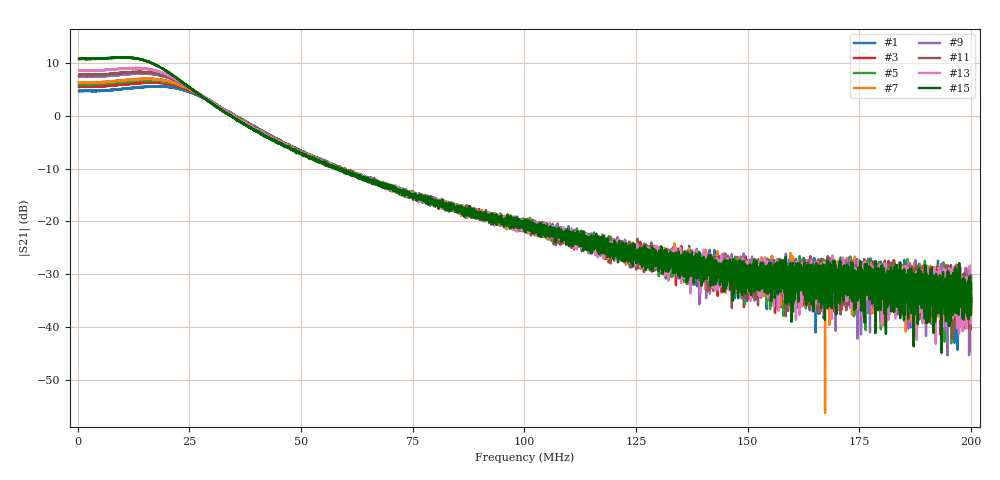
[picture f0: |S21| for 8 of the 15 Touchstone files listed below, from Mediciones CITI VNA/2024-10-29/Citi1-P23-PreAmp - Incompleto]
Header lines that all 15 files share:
# Hz S DB R 50
! CMT, M5065, 19127446, 24.2.4/2
! Data: Format (Calibration Info)
! Freq	S11:dB/Ang(F2)	S21:dB/Ang(F2)	S12:dB/Ang(F2)	S22:dB/Ang(F2)
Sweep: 300 kHz to 200 MHz
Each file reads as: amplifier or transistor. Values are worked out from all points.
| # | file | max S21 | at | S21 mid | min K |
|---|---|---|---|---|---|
| 1 | ganancia_0.s2p | 5.7 dB | 16.88 MHz | -20.2 dB at 100.2 MHz | -7863.01 |
| 2 | ganancia_4.s2p | 6.2 dB | 16.83 MHz | -20.6 dB at 100.2 MHz | -630.19 |
| 3 | ganancia_6.s2p | 6.4 dB | 17.39 MHz | -20.9 dB at 100.2 MHz | -286.75 |
| 4 | ganancia_8.s2p | 6.7 dB | 16.26 MHz | -20.5 dB at 100.2 MHz | -284.62 |
| 5 | ganancia_9.s2p | 6.9 dB | 15.15 MHz | -21.1 dB at 100.2 MHz | -356.22 |
| 6 | ganancia_10.s2p | 7.0 dB | 15.06 MHz | -21.0 dB at 100.2 MHz | -66.31 |
| 7 | ganancia_11.s2p | 7.1 dB | 16.52 MHz | -21.0 dB at 100.2 MHz | -562.19 |
| 8 | ganancia_14.s2p | 7.6 dB | 15.15 MHz | -20.5 dB at 100.2 MHz | -81.46 |
| 9 | ganancia_17.s2p | 8.1 dB | 15.01 MHz | -21.3 dB at 100.2 MHz | 6.32 |
| 10 | ganancia_18.s2p | 8.3 dB | 14.79 MHz | -20.1 dB at 100.2 MHz | 5.16 |
| 11 | ganancia_19.s2p | 8.4 dB | 13.99 MHz | -20.8 dB at 100.2 MHz | -7.95 |
| 12 | ganancia_22.s2p | 9.0 dB | 13.26 MHz | -21.1 dB at 100.2 MHz | 6.11 |
| 13 | ganancia_23.s2p | 9.1 dB | 13.79 MHz | -20.6 dB at 100.2 MHz | 5.19 |
| 14 | ganancia_28.s2p | 9.9 dB | 11.44 MHz | -19.8 dB at 100.2 MHz | 4.38 |
| 15 | ganancia_32.s2p | 11.1 dB | 10.46 MHz | -20.4 dB at 100.2 MHz | 3.85 |
